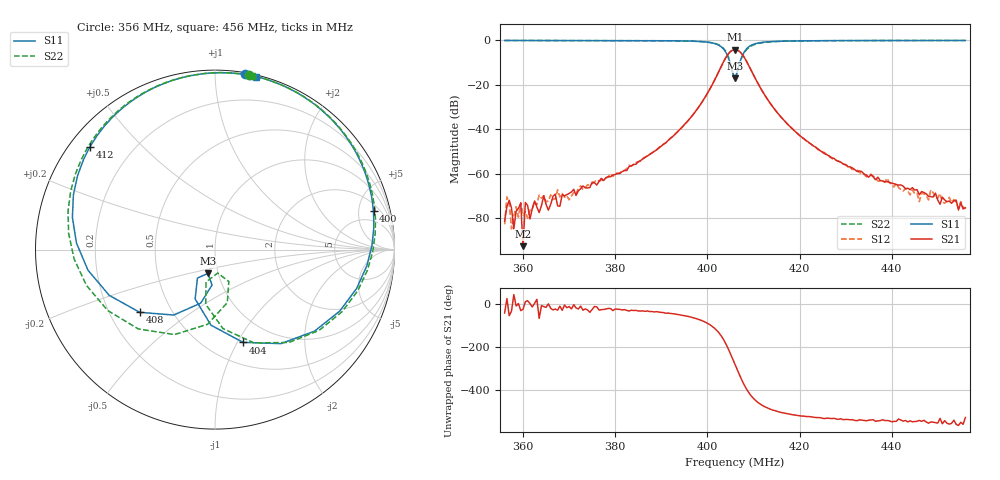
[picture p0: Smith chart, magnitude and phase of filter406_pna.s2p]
!Date: Thursday, August 27, 2020 17:47:51
!Correction: S11(Full 2 Port(1,3))
!S31(Full 2 Port(1,3))
!S13(Full 2 Port(1,3))
!S33(Full 2 Port(1,3))
!S2P File: Measurements: S11, S31, S13, S33:
# Hz S  dB  R 50
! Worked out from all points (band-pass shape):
!   201 points, 356 MHz to 456 MHz, reference 50 ohm
!   highest |S21| = -4.17 dB at 406 MHz (marker M1); lowest = -92.6 dB at 360 MHz (marker M2)
!   |S21| within 3 dB of the highest: 404.2 MHz to 407.8 MHz (3.648 MHz wide, 0.899 % of centre)
!   lowest |S11| = -17.2 dB at 406 MHz (marker M3), VSWR 1.32, Z = 44.6 - j12.1 ohm
!   |S11| at or under -10 dB: 404.9 MHz to 407 MHz (2.127 MHz wide, 0.524 % of centre)
!   |S22| runs from -17.6 to -0.1 dB; largest |S21 - S12| = 0.00044
!   S11 on the Smith chart (normalised r, x): 356 MHz: 0.01, +1.18; 400 MHz: 2.94, +7.21; 404 MHz: 0.72, -1.06; 408 MHz: 0.33, -0.33; 412 MHz: 0.06, +0.36; 456 MHz: 0.01, +1.27
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3.56e8  -0.07 80.4  -81.30 -42.6  -82.76 -39.3  -0.07 79.1
3.565e8  -0.07 80.2  -74.78 24.3  -70.43 -27.3  -0.07 78.9
3.575e8  -0.07 79.8  -75.42 -33.8  -84.84 -1.9  -0.07 78.6
3.595e8  -0.07 79.1  -73.34 -31.5  -73.01 11.5  -0.07 77.7
3.6e8  -0.07 78.9  -92.61 -25.6  -78.99 -15.7  -0.07 77.5
3.605e8  -0.07 78.7  -72.95 9.3  -76.95 19.5  -0.07 77.3
3.615e8  -0.07 78.2  -80.39 1.4  -76.39 -20.1  -0.08 76.8
3.625e8  -0.07 77.8  -72.30 1.7  -72.39 -40.7  -0.07 76.4
3.645e8  -0.07 77.0  -69.92 -12.9  -69.85 -25.4  -0.08 75.5
3.655e8  -0.07 76.5  -76.40 -0.2  -72.28 3.2  -0.08 75.0
3.73e8  -0.08 72.7  -65.53 -29.6  -67.02 -6.6  -0.09 70.9
3.895e8  -0.16 56.9  -48.24 -38.4  -48.50 -38.2  -0.16 54.3
4e8  -0.83 13.6  -23.92 -89.9  -23.93 -89.9  -0.81 11.0
4.02e8  -1.74 -15.3  -16.11 -122.2  -16.12 -122.2  -1.64 -16.0
4.04e8  -5.35 -73.2  -7.80 175.7  -7.80 175.7  -4.99 -67.3
4.06e8  -17.15 -106.8  -4.17 79.7  -4.18 79.6  -17.61 -83.2
4.08e8  -5.26 -140.2  -7.63 -15.0  -7.64 -15.0  -5.60 -115.5
4.095e8  -2.24 177.3  -13.48 -65.3  -13.48 -65.3  -2.57 -164.4
4.12e8  -0.89 140.5  -23.12 -110.7  -23.12 -110.8  -1.07 151.7
4.23e8  -0.19 98.4  -47.52 -163.9  -47.54 -165.2  -0.22 102.0
4.395e8  -0.10 83.7  -63.90 178.7  -63.99 -178.1  -0.11 85.5
4.56e8  -0.08 76.6  -75.34 -165.7  -75.75 164.4  -0.08 77.9
